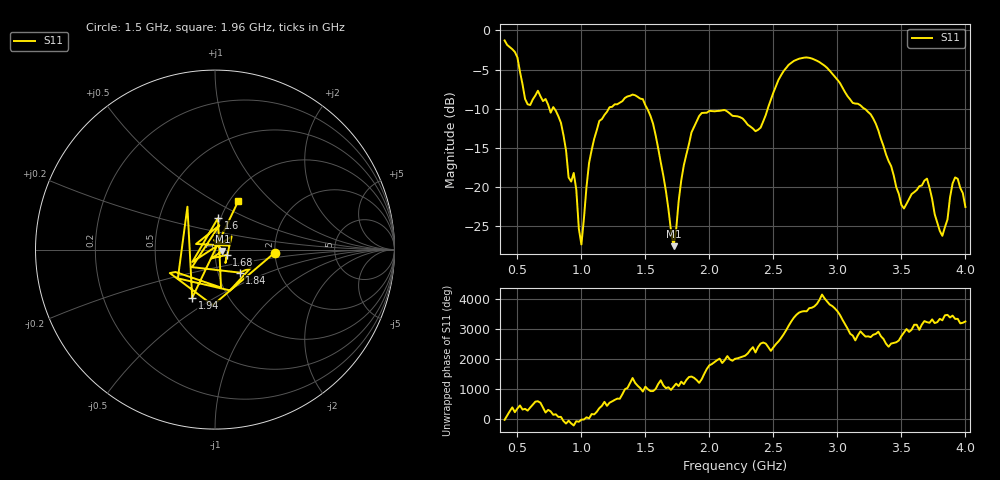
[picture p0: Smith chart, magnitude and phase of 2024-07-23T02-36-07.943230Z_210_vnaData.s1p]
!Created with skrf (http://scikit-rf.org).
# Hz S RI R 50.0
!freq ReS11 ImS11
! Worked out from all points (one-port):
!   181 points, 400 MHz to 4 GHz, reference 50 ohm
!   lowest |S11| = -27.6 dB at 1.72 GHz (marker M1), VSWR 1.09, Z = 54.3 - j0.816 ohm
!   |S11| at or under -10 dB: 789 MHz to 1.213 GHz (424.4 MHz wide, 42.4 % of centre); 1.514 GHz to 2.456 GHz (941.5 MHz wide, 47.4 % of centre); 3.212 GHz to end of sweep (the widest 3 of 4)
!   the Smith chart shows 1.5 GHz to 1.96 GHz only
!   S11 on the Smith chart (normalised r, x): 1.5 GHz: 1.99, -0.08; 1.6 GHz: 0.97, +0.35; 1.68 GHz: 1.14, -0.07; 1.84 GHz: 1.27, -0.34; 1.94 GHz: 0.68, -0.40; 1.96 GHz: 1.10, +0.65
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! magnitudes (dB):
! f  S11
! 400 MHz  -1.3
! 580 MHz  -9.4
! 660 MHz  -7.7
! 860 MHz  -13.4
! 900 MHz  -18.8
! 940 MHz  -18.2
! 1 GHz  -27.4
! 1.1 GHz  -13.8
! 1.3 GHz  -9.2
! 1.5 GHz  -9.6
! 1.6 GHz  -15.1
! 1.68 GHz  -22.8
! 1.72 GHz  -27.6
! 1.76 GHz  -21.8
! 1.84 GHz  -14.5
! 1.94 GHz  -10.5
! 1.96 GHz  -10.5
! 2.2 GHz  -10.9
! 2.4 GHz  -12.4
! 2.66 GHz  -3.9
! 3.1 GHz  -8.8
! 3.26 GHz  -10.7
! 3.5 GHz  -22.3
! 3.56 GHz  -21.5
! 3.7 GHz  -18.9
! 3.82 GHz  -26.2
! 3.92 GHz  -18.8
! 4 GHz  -22.6
